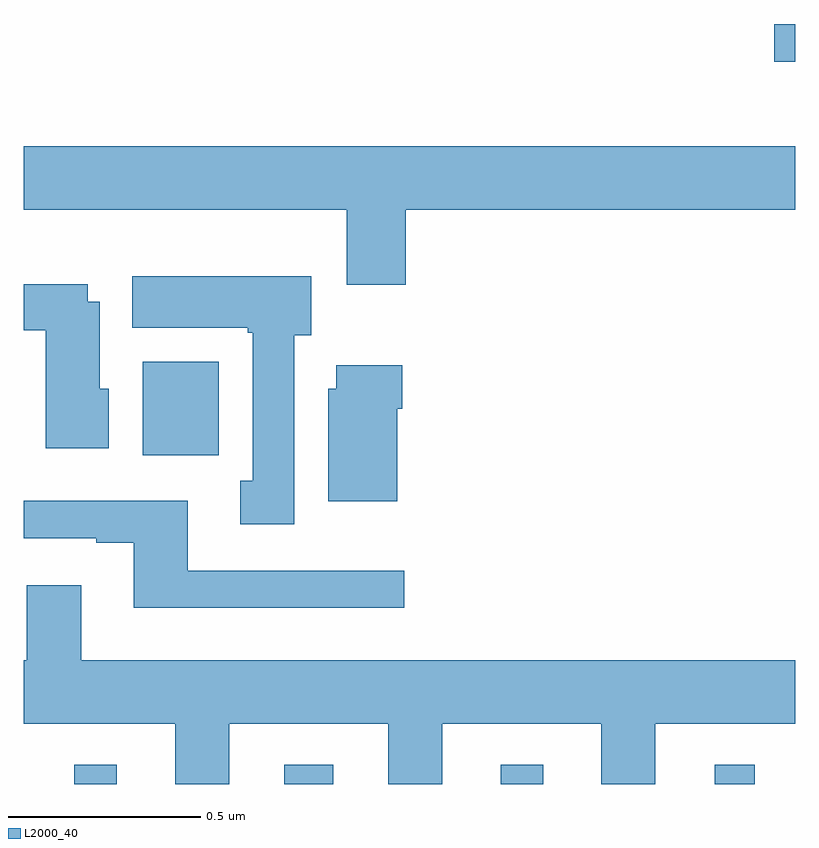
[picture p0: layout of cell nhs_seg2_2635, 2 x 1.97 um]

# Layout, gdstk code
import gdstk
lib = gdstk.Library(unit=1e-6, precision=1e-09)
def R(c, l, rs):  # rectangles x0, y0, x1, y1
    for r in rs: c.add(gdstk.rectangle(r[:2], r[2:], *l))
def P(c, l, *ps):  # polygons
    for p in ps: c.add(gdstk.Polygon(p, *l))
L2000_40 = (2000, 40)

nhs_seg2_2635 = lib.new_cell('nhs_seg2_2635')
R(nhs_seg2_2635, L2000_40, [(143.132,660.8,143.242,660.85), (143.675,660.8,143.803,660.85), (144.236,660.8,144.346,660.85), (144.791,660.8,144.895,660.85), (143.309,661.652,143.506,661.894), (144.945,662.671,145,662.769)])
P(nhs_seg2_2635, L2000_40, [(143.99,662.288),(145,662.288),(145,662.452),(143,662.452),(143,662.288),(143.837,662.288),(143.837,662.094),(143.99,662.094)],
  [(143.701,661.962),(143.746,661.962),(143.746,662.116),(143.282,662.116),(143.282,661.982),(143.581,661.982),(143.581,661.969),(143.594,661.969),(143.594,661.586),(143.561,661.586),(143.561,661.473),(143.701,661.473)],
  [(143.221,661.824),(143.197,661.824),(143.197,662.05),(143.167,662.05),(143.167,662.095),(143,662.095),(143,661.976),(143.057,661.976),(143.057,661.67),(143.221,661.67)],
  [(143.968,661.772),(143.981,661.772),(143.981,661.885),(143.81,661.885),(143.81,661.824),(143.789,661.824),(143.789,661.532),(143.968,661.532)],
  [(143.986,661.353),(143.425,661.353),(143.425,661.534),(143,661.534),(143,661.437),(143.189,661.437),(143.189,661.425),(143.285,661.425),(143.285,661.256),(143.986,661.256)],
  [(143.533,660.956),(143.945,660.956),(143.945,660.8),(144.085,660.8),(144.085,660.956),(144.497,660.956),(144.497,660.8),(144.637,660.8),(144.637,660.956),(145,660.956),(145,661.12),(143.149,661.12),(143.149,661.315),(143.009,661.315),(143.009,661.12),(143,661.12),(143,660.956),(143.393,660.956),(143.393,660.8),(143.533,660.8)])

lib.write_gds('nhs_seg2_2635.gds')
